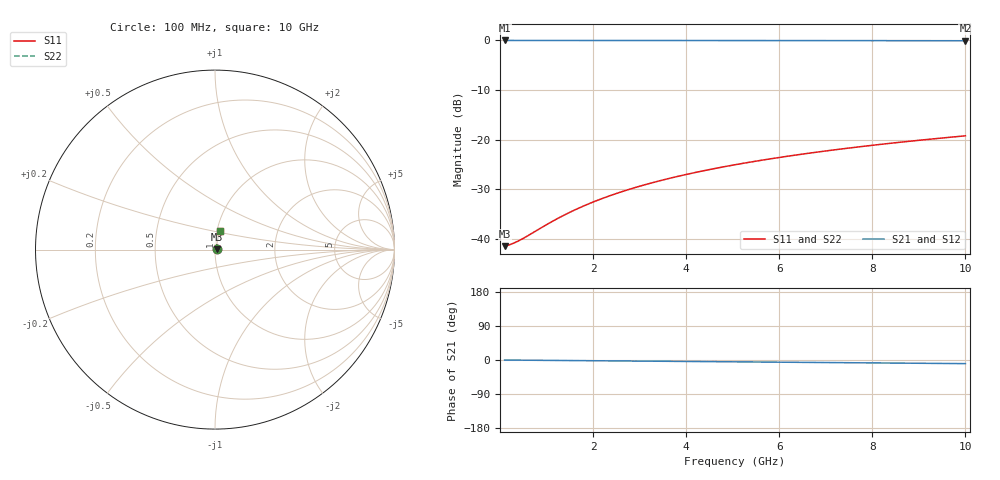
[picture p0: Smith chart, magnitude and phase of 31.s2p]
# Hz S RI R 50.00
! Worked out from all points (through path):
!   100 points, 100 MHz to 10 GHz, reference 50 ohm
!   highest |S21| = -0.07 dB at 100 MHz (marker M1); lowest = -0.1 dB at 10 GHz (marker M2)
!   group delay of S21, straight-line fit = 2.66 ps
!   lowest |S11| = -41.4 dB at 100 MHz (marker M3), VSWR 1.02, Z = 50.9 + j0.11 ohm
!   |S11| at or under -10 dB: start of sweep to end of sweep
!   |S22| runs from -41.4 to -19.2 dB; largest |S21 - S12| = 0
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1e8  0.00845 0.00108  0.9915 -0.00166  0.9915 -0.00166  0.00845 0.00108
2e8  0.00851 0.00216  0.9915 -0.00331  0.9915 -0.00331  0.00851 0.00216
3e8  0.00856 0.00325  0.9914 -0.00497  0.9914 -0.00497  0.00856 0.00325
4e8  0.00861 0.00433  0.9914 -0.00663  0.9914 -0.00663  0.00861 0.00433
6e8  0.0087 0.00649  0.9913 -0.00994  0.9913 -0.00994  0.0087 0.00649
1e9  0.00889 0.0108  0.9911 -0.0166  0.9911 -0.0166  0.00889 0.0108
1.2e9  0.009 0.013  0.991 -0.0199  0.991 -0.0199  0.009 0.013
1.5e9  0.00919 0.0162  0.9908 -0.0248  0.9908 -0.0248  0.00919 0.0162
1.8e9  0.0094 0.0195  0.9905 -0.0298  0.9905 -0.0298  0.0094 0.0195
2.1e9  0.00964 0.0227  0.9903 -0.0348  0.9903 -0.0348  0.00964 0.0227
2.5e9  0.01 0.027  0.9899 -0.0414  0.9899 -0.0414  0.01 0.027
2.9e9  0.0104 0.0313  0.9894 -0.048  0.9894 -0.048  0.0104 0.0313
3.4e9  0.011 0.0367  0.9887 -0.0562  0.9887 -0.0562  0.011 0.0367
3.8e9  0.0116 0.041  0.9881 -0.0628  0.9881 -0.0628  0.0116 0.041
4.2e9  0.0122 0.0452  0.9875 -0.0694  0.9875 -0.0694  0.0122 0.0452
4.6e9  0.0129 0.0495  0.9868 -0.076  0.9868 -0.076  0.0129 0.0495
5.1e9  0.0138 0.0548  0.9858 -0.0842  0.9858 -0.0842  0.0138 0.0548
5.9e9  0.0154 0.0633  0.984 -0.0973  0.984 -0.0973  0.0154 0.0633
6.7e9  0.0172 0.0717  0.982 -0.1103  0.982 -0.1103  0.0172 0.0717
7.5e9  0.0193 0.0801  0.9797 -0.1233  0.9797 -0.1233  0.0193 0.0801
8.4e9  0.0219 0.0894  0.9769 -0.1379  0.9769 -0.1379  0.0219 0.0894
1e10  0.0272 0.1058  0.9711 -0.1635  0.9711 -0.1635  0.0272 0.1058
